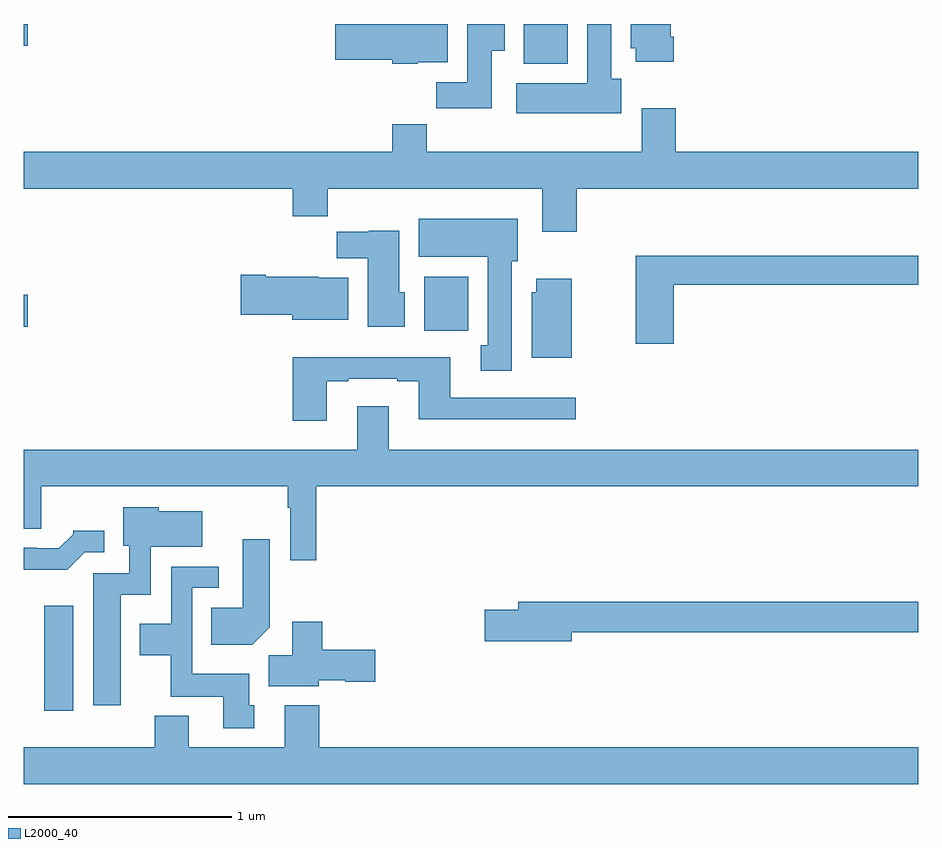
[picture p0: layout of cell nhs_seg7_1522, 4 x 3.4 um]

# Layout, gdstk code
import gdstk
lib = gdstk.Library(unit=1e-6, precision=1e-09)
def R(c, l, rs):  # rectangles x0, y0, x1, y1
    for r in rs: c.add(gdstk.rectangle(r[:2], r[2:], *l))
def P(c, l, *ps):  # polygons
    for p in ps: c.add(gdstk.Polygon(p, *l))
L2000_40 = (2000, 40)

nhs_seg7_1522 = lib.new_cell('nhs_seg7_1522')
R(nhs_seg7_1522, L2000_40, [(215.09,1016.928,215.221,1017.397), (216.791,1018.628,216.988,1018.87), (215,1018.646,215.017,1018.788), (217.235,1019.822,217.432,1020), (215,1019.902,215.017,1020)])
P(nhs_seg7_1522, L2000_40, [(217.672,1019.754),(217.627,1019.754),(217.627,1020),(217.52,1020),(217.52,1019.734),(217.203,1019.734),(217.203,1019.6),(217.672,1019.6)],
  [(216.762,1019.828),(216.895,1019.828),(216.895,1020),(216.392,1020),(216.392,1019.84),(216.648,1019.84),(216.648,1019.822),(216.762,1019.822)],
  [(217.907,1019.944),(217.894,1019.944),(217.894,1020),(217.715,1020),(217.715,1019.892),(217.736,1019.892),(217.736,1019.832),(217.907,1019.832)],
  [(217.093,1019.881),(217.15,1019.881),(217.15,1020),(216.983,1020),(216.983,1019.74),(216.844,1019.74),(216.844,1019.622),(217.093,1019.622)],
  [(217.472,1019.264),(219,1019.264),(219,1019.428),(217.916,1019.428),(217.916,1019.623),(217.763,1019.623),(217.763,1019.428),(216.803,1019.428),(216.803,1019.552),(216.647,1019.552),(216.647,1019.428),(215,1019.428),(215,1019.264),(216.203,1019.264),(216.203,1019.14),(216.359,1019.14),(216.359,1019.264),(217.319,1019.264),(217.319,1019.07),(217.472,1019.07)],
  [(217.183,1018.938),(217.21,1018.938),(217.21,1019.128),(216.767,1019.128),(216.767,1018.958),(217.076,1018.958),(217.076,1018.562),(217.043,1018.562),(217.043,1018.449),(217.183,1018.449)],
  [(216.703,1018.8),(216.679,1018.8),(216.679,1019.074),(216.543,1019.074),(216.543,1019.07),(216.4,1019.07),(216.4,1018.952),(216.539,1018.952),(216.539,1018.646),(216.703,1018.646)],
  [(217.907,1018.834),(219,1018.834),(219,1018.963),(217.736,1018.963),(217.736,1018.569),(217.907,1018.569)],
  [(216.451,1018.864),(216.318,1018.864),(216.318,1018.87),(216.082,1018.87),(216.082,1018.878),(215.97,1018.878),(215.97,1018.7),(216.2,1018.7),(216.2,1018.676),(216.451,1018.676)],
  [(217.45,1018.861),(217.292,1018.861),(217.292,1018.8),(217.271,1018.8),(217.271,1018.508),(217.45,1018.508)],
  [(216.355,1018.401),(216.451,1018.401),(216.451,1018.413),(216.671,1018.413),(216.671,1018.401),(216.767,1018.401),(216.767,1018.232),(217.468,1018.232),(217.468,1018.329),(216.907,1018.329),(216.907,1018.51),(216.203,1018.51),(216.203,1018.224),(216.355,1018.224)],
  [(219,1018.096),(216.631,1018.096),(216.631,1018.291),(216.491,1018.291),(216.491,1018.096),(215,1018.096),(215,1017.742),(215.077,1017.742),(215.077,1017.932),(216.18,1017.932),(216.18,1017.836),(216.192,1017.836),(216.192,1017.6),(216.308,1017.6),(216.308,1017.932),(219,1017.932)],
  [(215.434,1017.446),(215.568,1017.446),(215.568,1017.662),(215.797,1017.662),(215.797,1017.82),(215.604,1017.82),(215.604,1017.838),(215.444,1017.838),(215.444,1017.666),(215.472,1017.666),(215.472,1017.543),(215.309,1017.543),(215.309,1016.952),(215.434,1016.952)],
  [(215.271,1017.636),(215.359,1017.636),(215.359,1017.733),(215.22,1017.733),(215.22,1017.718),(215.156,1017.654),(215.057,1017.654),(215.057,1017.657),(215,1017.657),(215,1017.558),(215.193,1017.558)],
  [(216.1,1017.302),(216.1,1017.694),(215.978,1017.694),(215.978,1017.388),(215.839,1017.388),(215.839,1017.224),(216.022,1017.224)],
  [(216.031,1016.952),(216.007,1016.952),(216.007,1017.094),(215.754,1017.094),(215.754,1017.477),(215.872,1017.477),(215.872,1017.573),(215.658,1017.573),(215.658,1017.316),(215.519,1017.316),(215.519,1017.176),(215.656,1017.176),(215.656,1016.99),(215.891,1016.99),(215.891,1016.85),(216.031,1016.85)],
  [(217.45,1017.28),(219,1017.28),(219,1017.416),(217.211,1017.416),(217.211,1017.38),(217.062,1017.38),(217.062,1017.238),(217.45,1017.238)],
  [(216.318,1017.065),(216.438,1017.065),(216.438,1017.058),(216.571,1017.058),(216.571,1017.2),(216.335,1017.2),(216.335,1017.325),(216.2,1017.325),(216.2,1017.176),(216.095,1017.176),(216.095,1017.038),(216.318,1017.038)],
  [(219,1016.764),(216.32,1016.764),(216.32,1016.953),(216.167,1016.953),(216.167,1016.764),(215.737,1016.764),(215.737,1016.905),(215.585,1016.905),(215.585,1016.764),(215,1016.764),(215,1016.6),(219,1016.6)])

lib.write_gds('nhs_seg7_1522.gds')
